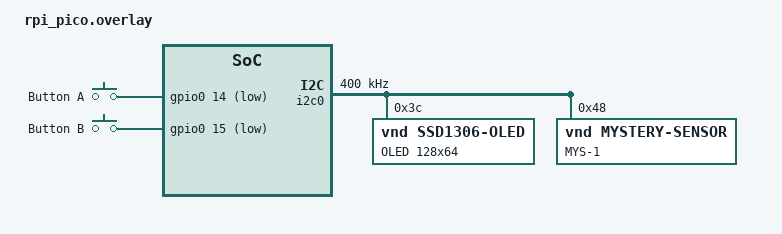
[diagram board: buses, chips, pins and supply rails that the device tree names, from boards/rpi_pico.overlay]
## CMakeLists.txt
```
cmake_minimum_required(VERSION 3.20.0)
find_package(Zephyr REQUIRED HINTS $ENV{ZEPHYR_BASE})
project(lab06_monitor)

# The application is the one shared with Lab 4. Its sources are compiled from there, not copied,
# so a change to app/ shows up in every port. Only hal_zephyr.c and src/main.c are Zephyr-side.
set(APP_DIR ${CMAKE_CURRENT_SOURCE_DIR}/../../lab04-port-lab3-to-stm32/app)
target_include_directories(app PRIVATE ${APP_DIR})
target_sources(app PRIVATE
    src/main.c
    hal_zephyr.c
    ${APP_DIR}/app.c
    ${APP_DIR}/display.c
    ${APP_DIR}/font.c
    ${APP_DIR}/format.c
    ${APP_DIR}/sensor.c
    ${APP_DIR}/ssd1306.c
    ${APP_DIR}/ui.c)
```

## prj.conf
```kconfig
# GPIO for the LED and the buttons, PRINTK for the console, I2C for the OLED and the MYS-1.
CONFIG_GPIO=y
CONFIG_PRINTK=y
CONFIG_I2C=y
# Stacks for the threads are set in src/main.c and hal_zephyr.c. The main stack holds only
# the start-up code.
CONFIG_MAIN_STACK_SIZE=2048
```

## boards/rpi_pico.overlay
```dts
/*
 * boards/rpi_pico.overlay: the devices of the Lab 6 monitor on the Pico.
 *
 *   GP25       LED (led0, on the board, active high)
 *   GP14       button A (sw0), pressed = low, pull-up
 *   GP15       button B (sw1), pressed = low, pull-up
 *   I2C0       GP4 = SDA, GP5 = SCL, 400 kHz
 *   0x3C       SSD1306 OLED (node "oled")
 *   0x48       MYS-1 sensor, the mystery chip from lesson 63 (node "mystery")
 *
 * The C side checks these addresses at build time (BUILD_ASSERT in hal_zephyr.c), so a wrong
 * reg value here stops the build instead of failing on the bus.
 */
#include <zephyr/dt-bindings/gpio/gpio.h>
#include <zephyr/dt-bindings/i2c/i2c.h>

&i2c0 {
	clock-frequency = <I2C_BITRATE_FAST>;
	status = "okay";

	oled: ssd1306@3c {
		compatible = "vnd,ssd1306-oled";
		reg = <0x3c>;
		label = "OLED 128x64";
	};

	mystery: mystery@48 {
		compatible = "vnd,mystery-sensor";
		reg = <0x48>;
		label = "MYS-1";
	};
};

/ {
	buttons {
		btn_a: button_a {
			compatible = "vnd,user-button";
			gpios = <&gpio0 14 (GPIO_ACTIVE_LOW | GPIO_PULL_UP)>;
			label = "Button A";
		};
		btn_b: button_b {
			compatible = "vnd,user-button";
			gpios = <&gpio0 15 (GPIO_ACTIVE_LOW | GPIO_PULL_UP)>;
			label = "Button B";
		};
	};

	aliases {
		sw0 = &btn_a;
		sw1 = &btn_b;
	};
};
```

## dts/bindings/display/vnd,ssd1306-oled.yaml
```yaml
# Binding for the SSD1306 OLED on I2C. The Lab 4 driver (app/ssd1306.c) writes to it through
# hal_i2c_write(), so this node only describes the device and checks its address at build time.
description: SSD1306 128x64 OLED on I2C (drawn by the application, not by a Zephyr driver)

compatible: "vnd,ssd1306-oled"

include: i2c-device.yaml
```

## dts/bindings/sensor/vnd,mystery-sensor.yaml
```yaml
# Binding for the MYS-1 temperature sensor (the teaching chip from lesson 63, WHO_AM_I 0xA7,
# I2C address 0x48). It adds nothing to i2c-device.yaml.
description: MYS-1 I2C temperature sensor (course teaching part)

compatible: "vnd,mystery-sensor"

include: i2c-device.yaml
```

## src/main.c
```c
// EXPECT: LAB6 OK
// SIM: skip Zephyr's RP2040 I2C driver gets no answer from the chip in Wokwi (timeout -116); the Pico SDK version (0063) runs
/* Lab 6: the Lab 4 monitor on Zephyr, split into threads. The application code in
 * ../../lab04-port-lab3-to-stm32/app is unchanged. Its app_run() is one super-loop, so this
 * file runs the same jobs as separate threads, and each thread calls the app's public functions:
 *
 *   button_thread  polls the two buttons every 5 ms, and posts a message on button_q when a level
 *                  changes. The message is only a doorbell: ui_poll() reads the buttons itself.
 *   sensor_thread  every 200 ms, reads the MYS-1 and posts a new sample on sample_q.
 *   ui_thread      wakes on button_q (or every 5 ms), feeds the samples to the UI, redraws the
 *                  OLED every 500 ms and logs one status line every second.
 *   log thread     lives in hal_zephyr.c and prints the lines that hal_log() queues.
 *
 * The threads wait at the start gate (app_ready) until the devices are up. */
#include <stdbool.h>
#include <stdint.h>

#include <zephyr/kernel.h>
#include <zephyr/sys/atomic.h>

#include "display.h"
#include "format.h"
#include "hal.h"
#include "sensor.h"
#include "ui.h"

#define SAMPLE_PERIOD_MS   200u
#define DRAW_PERIOD_MS     500u
#define LOG_PERIOD_MS      1000u
#define BUTTON_SCAN_MS     5
#define THREAD_STACK       2048

#define PRIO_BUTTON   K_PRIO_PREEMPT(2)   /* most urgent: it wakes the UI for a press */
#define PRIO_UI       K_PRIO_PREEMPT(5)
#define PRIO_SENSOR   K_PRIO_PREEMPT(6)

/* A bit mask of both buttons' levels: bit 0 is A, bit 1 is B. */
K_MSGQ_DEFINE(button_q, sizeof(uint8_t), 8, 1);
/* Samples are in hundredths of a degree, as sensor.h defines them. */
K_MSGQ_DEFINE(sample_q, sizeof(int32_t), 4, 4);

/* Set by the sensor thread, read by the UI thread: 1 while the sensor does not answer. */
static atomic_t sensor_error = ATOMIC_INIT(0);

/* The start gate. main() gives it once the devices are up. K_THREAD_DEFINE can start a thread
 * after a delay, but only a millisecond count, so the gate is what holds the threads back.
 * Each thread takes the gate and gives it back, so all of them pass once main() has run. */
K_SEM_DEFINE(app_ready, 0, 1);

static void wait_for_start(void)
{
    k_sem_take(&app_ready, K_FOREVER);
    k_sem_give(&app_ready);
}

/* Wrap-safe deadline check (lesson 73), as in app/app.c. */
static bool due(uint32_t now, uint32_t deadline)
{
    return (int32_t)(now - deadline) >= 0;
}

static uint8_t read_buttons(void)
{
    uint8_t mask = 0U;
    if (hal_gpio_read(HAL_PIN_BTN_A)) {
        mask |= 0x01U;
    }
    if (hal_gpio_read(HAL_PIN_BTN_B)) {
        mask |= 0x02U;
    }
    return mask;
}

static void button_thread(void *p1, void *p2, void *p3)
{
    ARG_UNUSED(p1);
    ARG_UNUSED(p2);
    ARG_UNUSED(p3);
    wait_for_start();
    uint8_t last = read_buttons();
    while (1) {
        uint8_t now = read_buttons();
        if (now != last) {
            last = now;
            /* K_NO_WAIT: the UI also wakes every 5 ms, so a dropped doorbell costs nothing. */
            (void)k_msgq_put(&button_q, &now, K_NO_WAIT);
        }
        k_msleep(BUTTON_SCAN_MS);
    }
}
K_THREAD_DEFINE(button_tid, THREAD_STACK, button_thread, NULL, NULL, NULL,
                PRIO_BUTTON, 0, 0);

static void sensor_thread(void *p1, void *p2, void *p3)
{
    ARG_UNUSED(p1);
    ARG_UNUSED(p2);
    ARG_UNUSED(p3);
    wait_for_start();
    while (1) {
        int32_t centi = 0;
        switch (sensor_poll(&centi)) {
            case SENSOR_NEW_SAMPLE:
                (void)k_msgq_put(&sample_q, &centi, K_NO_WAIT);
                atomic_set(&sensor_error, 0);
                break;
            case SENSOR_ERROR:
                atomic_set(&sensor_error, 1);
                break;
            case SENSOR_IDLE:
                break;
        }
        k_msleep(SAMPLE_PERIOD_MS);
    }
}
K_THREAD_DEFINE(sensor_tid, THREAD_STACK, sensor_thread, NULL, NULL, NULL,
                PRIO_SENSOR, 0, 0);

/* The same status line as app/app.c's log_status(), which is static there, so the port repeats
 * it here. That repetition is one of the costs of splitting the super-loop (see Lab 6). */
static void log_status(void)
{
    ui_status_t s = ui_status();
    char num[16];
    char line[96];
    size_t len = 0U;

    line[0] = '\0';
    if (s.have_sample) {
        len = str_append(line, sizeof line, len, "LAB6 T=");
        fmt_centi(num, sizeof num, s.last);
        len = str_append(line, sizeof line, len, num);
        len = str_append(line, sizeof line, len, " MIN=");
        fmt_centi(num, sizeof num, s.min);
        len = str_append(line, sizeof line, len, num);
        len = str_append(line, sizeof line, len, " MAX=");
        fmt_centi(num, sizeof num, s.max);
        len = str_append(line, sizeof line, len, num);
        len = str_append(line, sizeof line, len, s.alarm ? " ALARM=1" : " ALARM=0");
    } else {
        len = str_append(line, sizeof line, len, "LAB6 T=none");
    }
    len = str_append(line, sizeof line, len, " SET=");
    fmt_int(num, sizeof num, s.setpoint);
    len = str_append(line, sizeof line, len, num);
    len = str_append(line, sizeof line, len, " SCREEN=");
    str_append(line, sizeof line, len, ui_screen_name(s.screen));
    hal_log(line);
}

static void ui_thread(void *p1, void *p2, void *p3)
{
    ARG_UNUSED(p1);
    ARG_UNUSED(p2);
    ARG_UNUSED(p3);
    wait_for_start();
    uint32_t start = hal_millis();
    uint32_t next_draw = start;
    uint32_t next_log = start;

    while (1) {
        /* Sleep until a button message arrives, or for 5 ms. Either way, the loop then polls. */
        uint8_t levels;
        (void)k_msgq_get(&button_q, &levels, K_MSEC(BUTTON_SCAN_MS));

        int32_t centi;
        while (k_msgq_get(&sample_q, &centi, K_NO_WAIT) == 0) {
            ui_on_sample(centi);
        }

        uint32_t now = hal_millis();
        (void)ui_poll(now);

        if (due(now, next_draw)) {
            next_draw += DRAW_PERIOD_MS;
            ui_draw(atomic_get(&sensor_error) != 0);
            (void)display_flush();          /* a failed transfer skips this frame */
            hal_gpio_write(HAL_PIN_LED, ui_status().alarm ? 1U : 0U);
        }

        if (due(now, next_log)) {
            next_log += LOG_PERIOD_MS;
            log_status();
        }
    }
}
K_THREAD_DEFINE(ui_tid, THREAD_STACK, ui_thread, NULL, NULL, NULL,
                PRIO_UI, 0, 0);

int main(void)
{
    hal_init();
    ui_init();

    if (!sensor_init() || !display_init()) {
        hal_log("LAB6 init failed");
        return 0;       /* the threads never start, so nothing else runs */
    }
    hal_log("LAB6 OK");

    k_sem_give(&app_ready);     /* open the gate: the three threads start now */
    return 0;
}
```
